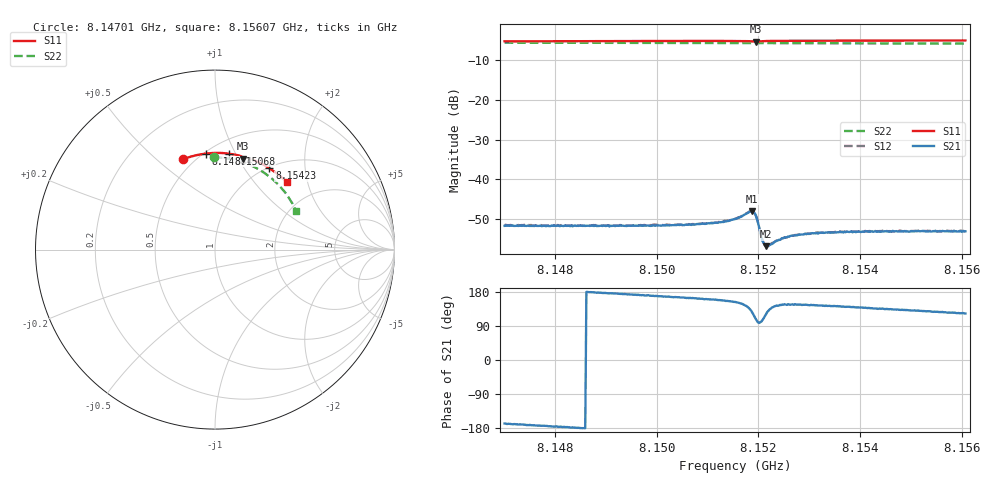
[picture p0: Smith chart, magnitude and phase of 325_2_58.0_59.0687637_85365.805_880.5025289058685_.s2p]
#  HZ  S  RI  R  50.00
! Rohde & Schwarz Vector Network Analyzer
! Rohde-Schwarz,ZNB20-2Port,1311601062101988,3.16
! Created: UTC 3/21/2024, 1:04:52 AM
! freq[Hz]  re:S11  im:S11  re:S21  im:S21  re:S12  im:S12  re:S22  im:S22
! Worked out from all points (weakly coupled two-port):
!   401 points, 8.14701 GHz to 8.15607 GHz, reference 50 ohm
!   highest |S21| = -47.91 dB at 8.15188 GHz (marker M1); lowest = -56.7 dB at 8.15215 GHz (marker M2)
!   lowest |S11| = -5.5 dB at 8.15195 GHz (marker M3), VSWR 3.26, Z = 37.2 + j52.4 ohm
!   |S11| at or under -10 dB: nowhere
!   |S22| runs from -6.0 to -5.8 dB; largest |S21 - S12| = 0.00012
!   S11 on the Smith chart (normalised r, x): 8.14701 GHz: 0.44, +0.62; 8.14884 GHz: 0.51, +0.77; 8.15068 GHz: 0.62, +0.94; 8.15423 GHz: 1.02, +1.31; 8.15607 GHz: 1.40, +1.50
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8.14701e9  -0.176 0.5041  -0.00257 -0.000569  -0.00264 -0.000499  -0.00747 0.5139
8.148528e9  -0.0737 0.5317  -0.00263 -7.62e-06  -0.00266 3.9e-05  0.0912 0.5041
8.148845e9  -0.052 0.5348  -0.00263 8.29e-05  -0.00267 0.000148  0.1113 0.4996
8.150045e9  0.0316 0.5384  -0.00261 0.000529  -0.00263 0.000592  0.1852 0.4756
8.150679e9  0.0756 0.535  -0.00258 0.000775  -0.00261 0.000829  0.2221 0.4585
8.151155e9  0.109 0.5299  -0.0027 0.00101  -0.00267 0.00109  0.249 0.4438
8.15154e9  0.1363 0.5233  -0.00286 0.00144  -0.00287 0.00148  0.2699 0.4305
8.151834e9  0.1571 0.5121  -0.00276 0.00286  -0.00273 0.00295  0.2853 0.4196
8.151879e9  0.1584 0.509  -0.00232 0.00329  -0.00229 0.00335  0.2875 0.4181
8.151925e9  0.1582 0.5066  -0.00157 0.00349  -0.00151 0.00355  0.2897 0.4163
8.151947e9  0.1577 0.5062  -0.00113 0.00339  -0.00105 0.00341  0.2909 0.4154
8.15197e9  0.1572 0.5065  -0.00075 0.00315  -0.000715 0.00317  0.2919 0.4146
8.152083e9  0.1618 0.5113  -0.000465 0.00162  -0.000456 0.00168  0.2977 0.4107
8.152106e9  0.1637 0.5117  -0.000566 0.00149  -0.000543 0.00149  0.2988 0.4098
8.152151e9  0.1674 0.5121  -0.000781 0.00124  -0.000758 0.00128  0.3012 0.4079
8.152219e9  0.173 0.5118  -0.00104 0.0011  -0.00102 0.00114  0.3046 0.4052
8.152468e9  0.1915 0.5073  -0.00153 0.00102  -0.00149 0.00108  0.3172 0.3953
8.152627e9  0.2025 0.5037  -0.00163 0.0011  -0.00162 0.0011  0.3248 0.3886
8.153057e9  0.2309 0.4925  -0.00174 0.00123  -0.00171 0.00124  0.3447 0.3702
8.154235e9  0.303 0.4537  -0.00164 0.00154  -0.00163 0.00157  0.3938 0.3144
8.154574e9  0.3223 0.4408  -0.00154 0.0016  -0.00155 0.00164  0.4062 0.2973
8.156069e9  0.4004 0.374  -0.00122 0.00189  -0.00118 0.00191  0.4517 0.2159
